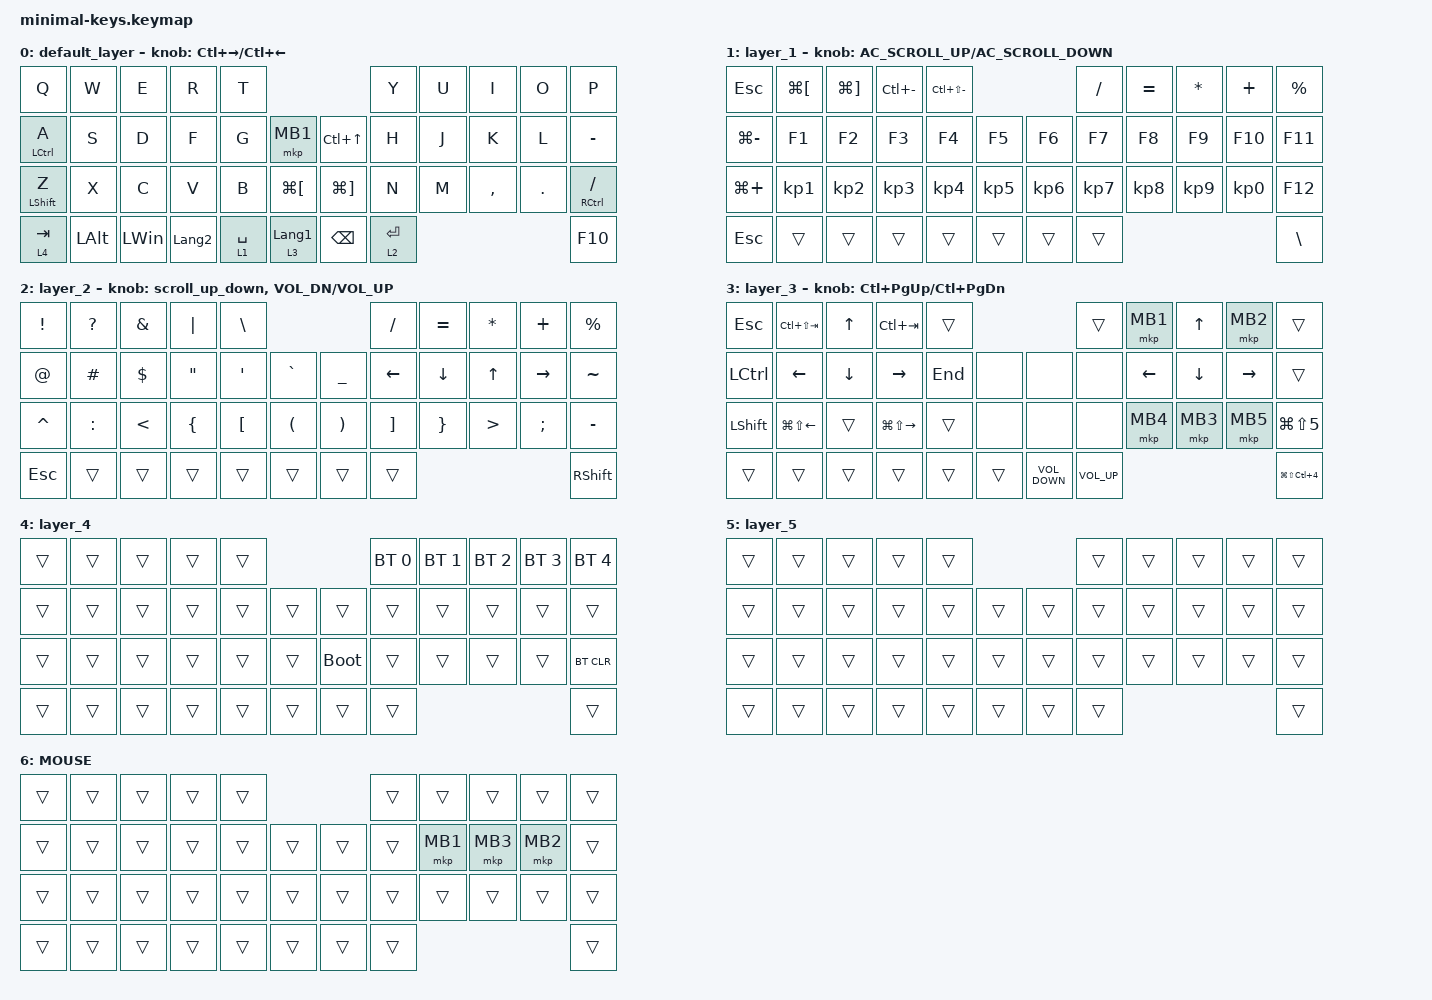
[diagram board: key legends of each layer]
#include <behaviors.dtsi>
#include <dt-bindings/zmk/bt.h>
#include <dt-bindings/zmk/keys.h>
#include <dt-bindings/zmk/pointing.h>

#undef ZMK_POINTING_DEFAULT_SCRL_VAL

#define ZMK_POINTING_DEFAULT_SCRL_VAL 100
#define MOUSE 6

&mt {
    flavor = "balanced";
    quick-tap-ms = <200>;
};

/ {
    combos {
        compatible = "zmk,combos";

        eq {
            bindings = <&kp EQUAL>;
            key-positions = <8 9>;
        };

        double_quotation {
            bindings = <&kp DOUBLE_QUOTES>;
            key-positions = <20 19>;
        };

        minus {
            bindings = <&kp MINUS>;
            key-positions = <8 7>;
        };

        brauserback {
            bindings = <&mkp MB4>;
            key-positions = <30 31>;
        };
    };

    macros {
        to_layer_0: to_layer_0 {
            compatible = "zmk,behavior-macro-one-param";
            #binding-cells = <1>;
            bindings = <&to 0 &macro_param_1to1 &kp MACRO_PLACEHOLDER>;
            label = "TO_LAYER_0";
        };
    };

    behaviors {
        lt_to_layer_0: lt_to_layer_0 {
            compatible = "zmk,behavior-hold-tap";
            label = "LAYER_TAP_TO_0";
            bindings = <&mo>, <&to_layer_0>;

            #binding-cells = <2>;
            tapping-term-ms = <200>;
        };

        scroll_up_down: behavior_sensor_rotate_mouse_wheel_up_down {
            compatible = "zmk,behavior-sensor-rotate";
            #sensor-binding-cells = <0>;
            bindings = <&msc SCRL_UP>, <&msc SCRL_DOWN>;

            tap-ms = <20>;
        };

        scroll: scroll {
            compatible = "zmk,behavior-sensor-rotate";
            label = "SCROLL";
            #sensor-binding-cells = <0>;
            bindings = <&msc SCRL_DOWN>, <&msc SCRL_UP>;
        };
    };

    keymap {
        compatible = "zmk,keymap";

        default_layer {
            bindings = <
&kp Q             &kp W         &kp E         &kp R           &kp T                                                       &kp Y        &kp U  &kp I      &kp O       &kp P
&mt LCTRL A       &kp S         &kp D         &kp F           &kp G        &mkp MB1                &kp LC(UP_ARROW)       &kp H        &kp J  &kp K      &kp L       &kp MINUS
&mt LEFT_SHIFT Z  &kp X         &kp C         &kp V           &kp B        &kp LG(LEFT_BRACKET)    &kp LG(RIGHT_BRACKET)  &kp N        &kp M  &kp COMMA  &kp PERIOD  &mt RCTRL SLASH
&lt 4 TAB         &kp LEFT_ALT  &kp LEFT_WIN  &kp LANGUAGE_2  &lt 1 SPACE  &lt 3 LANGUAGE_1        &kp BACKSPACE          &lt 2 ENTER                                &kp F10
            >;

            sensor-bindings = <&inc_dec_kp LC(RIGHT_ARROW) LC(LEFT_ARROW)>;
        };

        layer_1 {
            bindings = <
&kp ESCAPE     &kp LG(LEFT_BRACKET)  &kp LG(RIGHT_BRACKET)  &kp LC(MINUS)    &kp LC(LS(MINUS))                                      &kp SLASH        &kp EQUAL        &kp ASTERISK     &kp PLUS         &kp PERCENT
&kp LG(MINUS)  &kp F1                &kp F2                 &kp F3           &kp F4             &kp F5             &kp F6           &kp F7           &kp F8           &kp F9           &kp F10          &kp F11
&kp LG(PLUS)   &kp KP_NUMBER_1       &kp KP_NUMBER_2        &kp KP_NUMBER_3  &kp KP_NUMBER_4    &kp KP_NUMBER_5    &kp KP_NUMBER_6  &kp KP_NUMBER_7  &kp KP_NUMBER_8  &kp KP_NUMBER_9  &kp KP_NUMBER_0  &kp F12
&kp ESCAPE     &trans                &trans                 &trans           &trans             &trans             &trans           &trans                                                              &kp BACKSLASH
            >;

            sensor-bindings = <&inc_dec_kp C_AC_SCROLL_UP C_AC_SCROLL_DOWN>;
        };

        layer_2 {
            bindings = <
&kp EXCLAMATION  &kp QUESTION  &kp AMPERSAND  &kp PIPE           &kp BACKSLASH                                                    &kp SLASH          &kp EQUAL        &kp ASTERISK      &kp PLUS         &kp PERCENT
&kp AT_SIGN      &kp HASH      &kp DOLLAR     &kp DOUBLE_QUOTES  &kp SQT           &kp GRAVE               &kp UNDERSCORE         &kp LEFT_ARROW     &kp DOWN_ARROW   &kp UP_ARROW      &kp RIGHT_ARROW  &kp TILDE
&kp CARET        &kp COLON     &kp LESS_THAN  &kp LEFT_BRACE     &kp LEFT_BRACKET  &kp LEFT_PARENTHESIS    &kp RIGHT_PARENTHESIS  &kp RIGHT_BRACKET  &kp RIGHT_BRACE  &kp GREATER_THAN  &kp SEMICOLON    &kp MINUS
&kp ESCAPE       &trans        &trans         &trans             &trans            &trans                  &trans                 &trans                                                                 &kp RIGHT_SHIFT
            >;

            sensor-bindings =
                <&scroll_up_down>,
                <&inc_dec_kp C_VOL_DN C_VOL_UP>;
        };

        layer_3 {
            bindings = <
&kp ESCAPE      &kp LC(LS(TAB))         &kp UP_ARROW    &kp LC(TAB)              &trans                                &trans           &mkp MB1        &kp UP_ARROW    &mkp MB2         &trans
&kp LCTRL       &kp LEFT_ARROW          &kp DOWN_ARROW  &kp RIGHT_ARROW          &kp END  &none     &none              &none            &kp LEFT_ARROW  &kp DOWN_ARROW  &kp RIGHT_ARROW  &trans
&kp LEFT_SHIFT  &kp LG(LS(LEFT_ARROW))  &trans          &kp LG(LS(RIGHT_ARROW))  &trans   &none     &none              &none            &mkp MB4        &mkp MB3        &mkp MB5         &kp LG(LS(NUMBER_5))
&trans          &trans                  &trans          &trans                   &trans   &trans    &kp C_VOLUME_DOWN  &kp C_VOLUME_UP                                                   &kp LG(LS(LC(NUMBER_4)))
            >;

            sensor-bindings = <&inc_dec_kp LC(PAGE_UP) LC(PAGE_DOWN)>;
        };

        layer_4 {
            bindings = <
&trans  &trans  &trans  &trans  &trans                         &bt BT_SEL 0  &bt BT_SEL 1  &bt BT_SEL 2  &bt BT_SEL 3  &bt BT_SEL 4
&trans  &trans  &trans  &trans  &trans  &trans    &trans       &trans        &trans        &trans        &trans        &trans
&trans  &trans  &trans  &trans  &trans  &trans    &bootloader  &trans        &trans        &trans        &trans        &bt BT_CLR
&trans  &trans  &trans  &trans  &trans  &trans    &trans       &trans                                                  &trans
            >;
        };

        layer_5 {
            bindings = <
&trans  &trans  &trans  &trans  &trans                    &trans  &trans  &trans  &trans  &trans
&trans  &trans  &trans  &trans  &trans  &trans    &trans  &trans  &trans  &trans  &trans  &trans
&trans  &trans  &trans  &trans  &trans  &trans    &trans  &trans  &trans  &trans  &trans  &trans
&trans  &trans  &trans  &trans  &trans  &trans    &trans  &trans                          &trans
            >;
        };

        MOUSE {
            bindings = <
&trans  &trans  &trans  &trans  &trans                    &trans  &trans    &trans    &trans    &trans
&trans  &trans  &trans  &trans  &trans  &trans    &trans  &trans  &mkp MB1  &mkp MB3  &mkp MB2  &trans
&trans  &trans  &trans  &trans  &trans  &trans    &trans  &trans  &trans    &trans    &trans    &trans
&trans  &trans  &trans  &trans  &trans  &trans    &trans  &trans                                &trans
            >;
        };
    };
};
